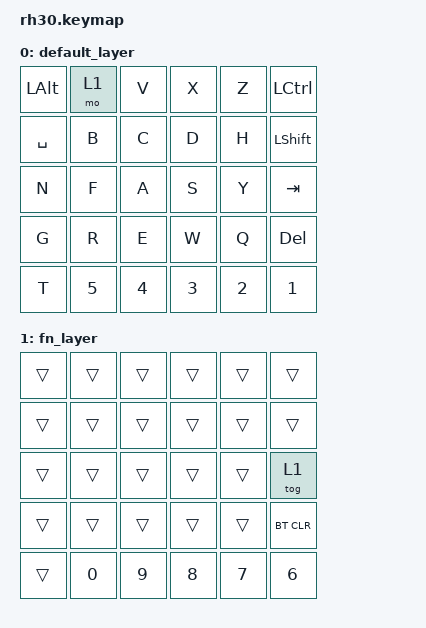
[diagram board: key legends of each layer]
#include <behaviors.dtsi>
#include <dt-bindings/zmk/keys.h>
#include <dt-bindings/zmk/bt.h>

/ {
    keymap {
        compatible = "zmk,keymap";

        default_layer {
            bindings = <
                &kp LALT  &mo 1     &kp V     &kp X     &kp Z     &kp LCTRL
                &kp SPACE &kp B     &kp C     &kp D     &kp H     &kp LSHFT
                &kp N     &kp F     &kp A     &kp S     &kp Y     &kp TAB
                &kp G     &kp R     &kp E     &kp W     &kp Q     &kp DEL
                &kp T     &kp N5    &kp N4    &kp N3    &kp N2    &kp N1
            >;
        };

        fn_layer {
            bindings = <
                &trans    &trans    &trans    &trans    &trans    &trans
                &trans    &trans    &trans    &trans    &trans    &trans
                &trans    &trans    &trans    &trans    &trans    &tog 1
                &trans    &trans    &trans    &trans    &trans    &bt BT_CLR
                &trans    &kp N0    &kp N9    &kp N8    &kp N7    &kp N6
            >;
        };
    };
};
